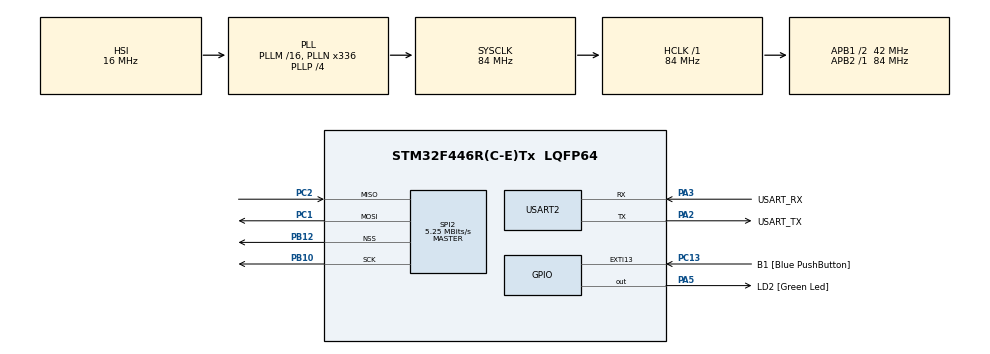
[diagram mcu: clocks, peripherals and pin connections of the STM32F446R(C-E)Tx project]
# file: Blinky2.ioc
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Dma.Request0=SPI2_TX
Dma.Request1=SPI2_RX
Dma.SPI2_RX.1.Direction=DMA_PERIPH_TO_MEMORY
Dma.SPI2_RX.1.FIFOMode=DMA_FIFOMODE_DISABLE
Dma.SPI2_RX.1.Instance=DMA1_Stream3
Dma.SPI2_RX.1.MemDataAlignment=DMA_MDATAALIGN_BYTE
Dma.SPI2_RX.1.MemInc=DMA_MINC_ENABLE
Dma.SPI2_RX.1.Mode=DMA_NORMAL
Dma.SPI2_RX.1.PeriphDataAlignment=DMA_PDATAALIGN_BYTE
Dma.SPI2_RX.1.PeriphInc=DMA_PINC_DISABLE
Dma.SPI2_RX.1.Priority=DMA_PRIORITY_LOW
Dma.SPI2_TX.0.Direction=DMA_MEMORY_TO_PERIPH
Dma.SPI2_TX.0.FIFOMode=DMA_FIFOMODE_DISABLE
Dma.SPI2_TX.0.Instance=DMA1_Stream4
Dma.SPI2_TX.0.MemDataAlignment=DMA_MDATAALIGN_BYTE
Dma.SPI2_TX.0.MemInc=DMA_MINC_ENABLE
Dma.SPI2_TX.0.Mode=DMA_NORMAL
Dma.SPI2_TX.0.PeriphDataAlignment=DMA_PDATAALIGN_BYTE
Dma.SPI2_TX.0.PeriphInc=DMA_PINC_DISABLE
Dma.SPI2_TX.0.Priority=DMA_PRIORITY_LOW
Mcu.Family=STM32F4
Mcu.Name=STM32F446R(C-E)Tx
Mcu.Package=LQFP64
NVIC.DMA1_Stream3_IRQn=true\:0\:0\:false\:false\:true\:false
NVIC.DMA1_Stream4_IRQn=true\:0\:0\:false\:false\:true\:false
NVIC.PriorityGroup=NVIC_PRIORITYGROUP_0
NVIC.SPI2_IRQn=true\:0\:0\:false\:false\:true\:true
PA13.GPIO_Label=TMS
PA13.Signal=SYS_JTMS-SWDIO
PA14.GPIO_Label=TCK
PA14.Signal=SYS_JTCK-SWCLK
PA2.GPIO_Label=USART_TX
PA2.Mode=Asynchronous
PA2.Signal=USART2_TX
PA3.GPIO_Label=USART_RX
PA3.Mode=Asynchronous
PA3.Signal=USART2_RX
PA5.GPIO_Label=LD2 [Green Led]
PA5.Signal=GPIO_Output
PB10.Mode=Full_Duplex_Master
PB10.Signal=SPI2_SCK
PB12.GPIO_PuPd=GPIO_PULLUP
PB12.Mode=NSS_Signal_Hard_Output
PB12.Signal=SPI2_NSS
PB3.GPIO_Label=SWO
PB3.Signal=SYS_JTDO-SWO
PC1.Mode=Full_Duplex_Master
PC1.Signal=SPI2_MOSI
PC13.GPIO_Label=B1 [Blue PushButton]
PC13.GPIO_ModeDefaultEXTI=GPIO_MODE_IT_FALLING
PC13.Signal=GPXTI13
PC14-OSC32_IN.Signal=RCC_OSC32_IN
PC15-OSC32_OUT.Signal=RCC_OSC32_OUT
PC2.Mode=Full_Duplex_Master
PC2.Signal=SPI2_MISO
PH0-OSC_IN.Signal=RCC_OSC_IN
PH1-OSC_OUT.Signal=RCC_OSC_OUT
ProjectManager.HeapSize=0x200
ProjectManager.StackSize=0x400
ProjectManager.TargetToolchain=SW4STM32
RCC.AHBFreq_Value=84000000
RCC.APB1CLKDivider=RCC_HCLK_DIV2
RCC.APB1Freq_Value=42000000
RCC.APB1TimFreq_Value=84000000
RCC.APB2Freq_Value=84000000
RCC.APB2TimFreq_Value=84000000
RCC.CortexFreq_Value=84000000
RCC.FLatency-AdvancedSettings=FLASH_LATENCY_2
RCC.HCLKFreq_Value=84000000
RCC.HSE_VALUE=8000000
RCC.HSI_VALUE=16000000
RCC.LSE_VALUE=32768
RCC.PLLN=336
RCC.PLLP=RCC_PLLP_DIV4
RCC.SYSCLKFreq_VALUE=84000000
RCC.SYSCLKSource=RCC_SYSCLKSOURCE_PLLCLK
RCC.USBFreq_Value=168000000
RCC.VCOOutputFreq_Value=336000000
SPI2.BaudRatePrescaler=SPI_BAUDRATEPRESCALER_8
SPI2.CalculateBaudRate=5.25 MBits/s
SPI2.Direction=SPI_DIRECTION_2LINES
SPI2.Mode=SPI_MODE_MASTER
SPI2.VirtualNSS=VM_NSSHARD
SPI2.VirtualType=VM_MASTER
USART2.VirtualMode=VM_ASYNC
board=NUCLEO-F446RE

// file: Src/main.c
/**
  ******************************************************************************
  * File Name          : main.c
  * Description        : Main program body
  ******************************************************************************
  ** This notice applies to any and all portions of this file
  * that are not between comment pairs USER CODE BEGIN and
  * USER CODE END. Other portions of this file, whether
  * inserted by the user or by software development tools
  * are owned by their respective copyright owners.
  *
  * COPYRIGHT(c) 2017 STMicroelectronics
  *
  * Redistribution and use in source and binary forms, with or without modification,
  * are permitted provided that the following conditions are met:
  *   1. Redistributions of source code must retain the above copyright notice,
  *      this list of conditions and the following disclaimer.
  *   2. Redistributions in binary form must reproduce the above copyright notice,
  *      this list of conditions and the following disclaimer in the documentation
  *      and/or other materials provided with the distribution.
  *   3. Neither the name of STMicroelectronics nor the names of its contributors
  *      may be used to endorse or promote products derived from this software
  *      without specific prior written permission.
  *
  * THIS SOFTWARE IS PROVIDED BY THE COPYRIGHT HOLDERS AND CONTRIBUTORS "AS IS"
  * AND ANY EXPRESS OR IMPLIED WARRANTIES, INCLUDING, BUT NOT LIMITED TO, THE
  * IMPLIED WARRANTIES OF MERCHANTABILITY AND FITNESS FOR A PARTICULAR PURPOSE ARE
  * DISCLAIMED. IN NO EVENT SHALL THE COPYRIGHT HOLDER OR CONTRIBUTORS BE LIABLE
  * FOR ANY DIRECT, INDIRECT, INCIDENTAL, SPECIAL, EXEMPLARY, OR CONSEQUENTIAL
  * DAMAGES (INCLUDING, BUT NOT LIMITED TO, PROCUREMENT OF SUBSTITUTE GOODS OR
  * SERVICES; LOSS OF USE, DATA, OR PROFITS; OR BUSINESS INTERRUPTION) HOWEVER
  * CAUSED AND ON ANY THEORY OF LIABILITY, WHETHER IN CONTRACT, STRICT LIABILITY,
  * OR TORT (INCLUDING NEGLIGENCE OR OTHERWISE) ARISING IN ANY WAY OUT OF THE USE
  * OF THIS SOFTWARE, EVEN IF ADVISED OF THE POSSIBILITY OF SUCH DAMAGE.
  *
  ******************************************************************************
  */
#include "main.h"
#include "stm32f4xx_hal.h"
#include "string.h"
#include "xprintf.h"

SPI_HandleTypeDef hspi2;
DMA_HandleTypeDef hdma_spi2_tx;
DMA_HandleTypeDef hdma_spi2_rx;

UART_HandleTypeDef huart2;

/* USER CODE BEGIN PV */
/* Private variables ---------------------------------------------------------*/
/* Buffer used for transmission */
uint8_t aTxBuffer[30];

/* Buffer used for reception */
uint8_t aRxBuffer[BUFFERSIZE];
/* USER CODE END PV */

void SystemClock_Config(void);
static void MX_GPIO_Init(void);
static void MX_DMA_Init(void);
static void MX_SPI2_Init(void);
static void MX_USART2_UART_Init(void);

/* USER CODE BEGIN PFP */
/* Private function prototypes -----------------------------------------------*/
void readStream_SPI(int addr, uint8_t* buf, int count);
void uart_getc(char c);
void uart_putc(char c);

/* USER CODE END PFP */

int main(void)
{

  /* MCU Configuration----------------------------------------------------------*/

  /* Reset of all peripherals, Initializes the Flash interface and the Systick. */
  HAL_Init();

  /* USER CODE BEGIN Init */
  xdev_out(uart_putc);
  xdev_in(uart_getc);
  /* USER CODE END Init */

  /* Configure the system clock */
  SystemClock_Config();

  /* Initialize all configured peripherals */
  MX_GPIO_Init();
  MX_DMA_Init();
  MX_SPI2_Init();
  MX_USART2_UART_Init();

  /* USER CODE BEGIN 2 */
  xprintf("output: %d\n\r", 1234);
  //HAL_UART_Transmit(&huart2, (uint8_t*)output, strlen(output), 0xFFFF);

  readStream_SPI(0,aTxBuffer, BUFFERSIZE);

  /*##-2- Start the Full Duplex Communication process ########################*/
  /* While the SPI in TransmitReceive process, user can transmit data through
     "aTxBuffer" buffer & receive data through "aRxBuffer" */
//  if(HAL_SPI_TransmitReceive_DMA(&hspi2, (uint8_t*)aTxBuffer, (uint8_t *)aRxBuffer, BUFFERSIZE) != HAL_OK)
//  {
//    /* Transfer error in transmission process */
//    Error_Handler();
//  }

  /* USER CODE END 2 */

  /* Infinite loop */
  while (1)
  {

  /* USER CODE BEGIN 3 */
      //Ld2 pin refers to "PA5" pin, which is D13 pin to which led is connected

      HAL_GPIO_TogglePin(GPIOA,GPIO_PIN_5); //Toggle LED

      HAL_Delay(1000); //Delay 1 Seconds
  }
  /* USER CODE END 3 */

}

/** System Clock Configuration
*/
void SystemClock_Config(void)
{

  RCC_OscInitTypeDef RCC_OscInitStruct;
  RCC_ClkInitTypeDef RCC_ClkInitStruct;

    /**Configure the main internal regulator output voltage
    */
  __HAL_RCC_PWR_CLK_ENABLE();

  __HAL_PWR_VOLTAGESCALING_CONFIG(PWR_REGULATOR_VOLTAGE_SCALE3);

    /**Initializes the CPU, AHB and APB busses clocks
    */
  RCC_OscInitStruct.OscillatorType = RCC_OSCILLATORTYPE_HSI;
  RCC_OscInitStruct.HSIState = RCC_HSI_ON;
  RCC_OscInitStruct.HSICalibrationValue = 16;
  RCC_OscInitStruct.PLL.PLLState = RCC_PLL_ON;
  RCC_OscInitStruct.PLL.PLLSource = RCC_PLLSOURCE_HSI;
  RCC_OscInitStruct.PLL.PLLM = 16;
  RCC_OscInitStruct.PLL.PLLN = 336;
  RCC_OscInitStruct.PLL.PLLP = RCC_PLLP_DIV4;
  RCC_OscInitStruct.PLL.PLLQ = 2;
  RCC_OscInitStruct.PLL.PLLR = 2;
  if (HAL_RCC_OscConfig(&RCC_OscInitStruct) != HAL_OK)
  {
    _Error_Handler(__FILE__, __LINE__);
  }

    /**Initializes the CPU, AHB and APB busses clocks
    */
  RCC_ClkInitStruct.ClockType = RCC_CLOCKTYPE_HCLK|RCC_CLOCKTYPE_SYSCLK
                              |RCC_CLOCKTYPE_PCLK1|RCC_CLOCKTYPE_PCLK2;
  RCC_ClkInitStruct.SYSCLKSource = RCC_SYSCLKSOURCE_PLLCLK;
  RCC_ClkInitStruct.AHBCLKDivider = RCC_SYSCLK_DIV1;
  RCC_ClkInitStruct.APB1CLKDivider = RCC_HCLK_DIV2;
  RCC_ClkInitStruct.APB2CLKDivider = RCC_HCLK_DIV1;

  if (HAL_RCC_ClockConfig(&RCC_ClkInitStruct, FLASH_LATENCY_2) != HAL_OK)
  {
    _Error_Handler(__FILE__, __LINE__);
  }

    /**Configure the Systick interrupt time
    */
  HAL_SYSTICK_Config(HAL_RCC_GetHCLKFreq()/1000);

    /**Configure the Systick
    */
  HAL_SYSTICK_CLKSourceConfig(SYSTICK_CLKSOURCE_HCLK);

  /* SysTick_IRQn interrupt configuration */
  HAL_NVIC_SetPriority(SysTick_IRQn, 0, 0);
}

/* SPI2 init function */
static void MX_SPI2_Init(void)
{

  /* SPI2 parameter configuration*/
  hspi2.Instance = SPI2;
  hspi2.Init.Mode = SPI_MODE_MASTER;
  hspi2.Init.Direction = SPI_DIRECTION_2LINES;
  hspi2.Init.DataSize = SPI_DATASIZE_8BIT;
  hspi2.Init.CLKPolarity = SPI_POLARITY_LOW;
  hspi2.Init.CLKPhase = SPI_PHASE_1EDGE;
  hspi2.Init.NSS = SPI_NSS_HARD_OUTPUT;
  hspi2.Init.BaudRatePrescaler = SPI_BAUDRATEPRESCALER_8;
  hspi2.Init.FirstBit = SPI_FIRSTBIT_MSB;
  hspi2.Init.TIMode = SPI_TIMODE_DISABLE;
  hspi2.Init.CRCCalculation = SPI_CRCCALCULATION_DISABLE;
  hspi2.Init.CRCPolynomial = 10;
  if (HAL_SPI_Init(&hspi2) != HAL_OK)
  {
    _Error_Handler(__FILE__, __LINE__);
  }

}

/* USART2 init function */
static void MX_USART2_UART_Init(void)
{

  huart2.Instance = USART2;
  huart2.Init.BaudRate = 115200;
  huart2.Init.WordLength = UART_WORDLENGTH_8B;
  huart2.Init.StopBits = UART_STOPBITS_1;
  huart2.Init.Parity = UART_PARITY_NONE;
  huart2.Init.Mode = UART_MODE_TX_RX;
  huart2.Init.HwFlowCtl = UART_HWCONTROL_NONE;
  huart2.Init.OverSampling = UART_OVERSAMPLING_16;
  if (HAL_UART_Init(&huart2) != HAL_OK)
  {
    _Error_Handler(__FILE__, __LINE__);
  }

}

static void MX_DMA_Init(void)
{
  /* DMA controller clock enable */
  __HAL_RCC_DMA1_CLK_ENABLE();

  /* DMA interrupt init */
  /* DMA1_Stream3_IRQn interrupt configuration */
  HAL_NVIC_SetPriority(DMA1_Stream3_IRQn, 0, 0);
  HAL_NVIC_EnableIRQ(DMA1_Stream3_IRQn);
  /* DMA1_Stream4_IRQn interrupt configuration */
  HAL_NVIC_SetPriority(DMA1_Stream4_IRQn, 0, 0);
  HAL_NVIC_EnableIRQ(DMA1_Stream4_IRQn);

}

/** Configure pins as
        * Analog
        * Input
        * Output
        * EVENT_OUT
        * EXTI
*/
static void MX_GPIO_Init(void)
{

  GPIO_InitTypeDef GPIO_InitStruct;

  /* GPIO Ports Clock Enable */
  __HAL_RCC_GPIOC_CLK_ENABLE();
  __HAL_RCC_GPIOH_CLK_ENABLE();
  __HAL_RCC_GPIOA_CLK_ENABLE();
  __HAL_RCC_GPIOB_CLK_ENABLE();

  /*Configure GPIO pin Output Level */
  HAL_GPIO_WritePin(LD2_GPIO_Port, LD2_Pin, GPIO_PIN_RESET);

  /*Configure GPIO pin : B1_Pin */
  GPIO_InitStruct.Pin = B1_Pin;
  GPIO_InitStruct.Mode = GPIO_MODE_IT_FALLING;
  GPIO_InitStruct.Pull = GPIO_NOPULL;
  HAL_GPIO_Init(B1_GPIO_Port, &GPIO_InitStruct);

  /*Configure GPIO pin : LD2_Pin */
  GPIO_InitStruct.Pin = LD2_Pin;
  GPIO_InitStruct.Mode = GPIO_MODE_OUTPUT_PP;
  GPIO_InitStruct.Pull = GPIO_NOPULL;
  GPIO_InitStruct.Speed = GPIO_SPEED_FREQ_LOW;
  HAL_GPIO_Init(LD2_GPIO_Port, &GPIO_InitStruct);

}

/* USER CODE BEGIN 4 */
void readStream_SPI(int addr, uint8_t* buf, int count){
	buf[0] = R_INST;
	buf[1] = (addr & ADDR_BMASK2) >> ADDR_BSHIFT2;
	buf[2] = (addr & ADDR_BMASK1) >> ADDR_BSHIFT1;
	buf[3] = (addr & ADDR_BMASK0) >> ADDR_BSHIFT0;
//	  for (int i = 4; i < count; i++){
//		  buf[i];
//	  }
}

void uart_putc(char c){
  HAL_UART_Transmit(&huart2, (uint8_t*)&c, 1, 0xFFFF);
}
void uart_getc(char c){
  HAL_UART_Receive(&huart2, (uint8_t*)&c, 1, 0xFFFF);
}
/* USER CODE END 4 */

void _Error_Handler(char * file, int line)
{
  while(1)
  {
  }
}

/************************ (C) COPYRIGHT STMicroelectronics *****END OF FILE****/
